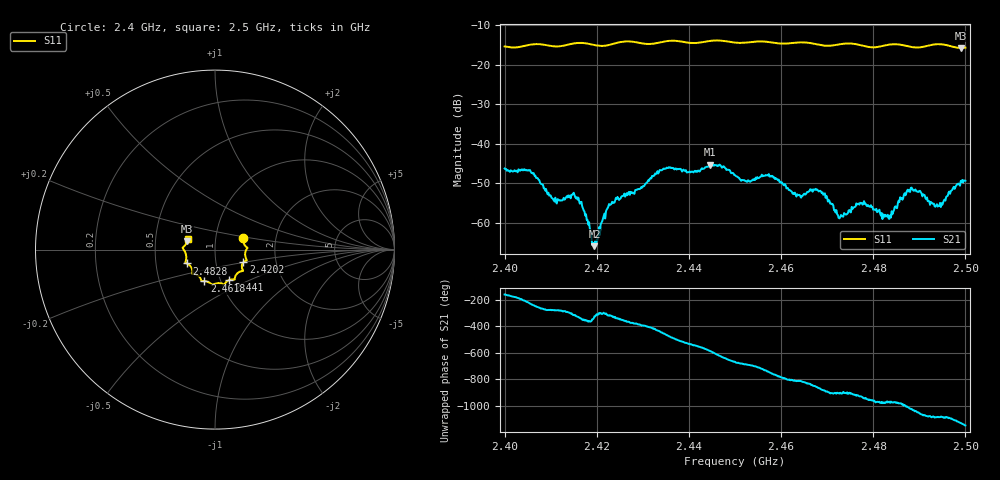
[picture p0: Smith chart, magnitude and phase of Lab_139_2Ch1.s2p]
# Hz S RI R 50
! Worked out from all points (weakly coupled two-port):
!   601 points, 2.4 GHz to 2.5 GHz, reference 50 ohm
!   highest |S21| = -45.32 dB at 2.4445 GHz (marker M1); lowest = -66.0 dB at 2.4195 GHz (marker M2)
!   lowest |S11| = -15.8 dB at 2.499 GHz (marker M3), VSWR 1.39, Z = 36.5 + j3.5 ohm
!   |S11| at or under -10 dB: start of sweep to end of sweep
!   S12 and S22 are empty: the file has one direction only
!   S11 on the Smith chart (normalised r, x): 2.4 GHz: 1.36, +0.18; 2.4202 GHz: 1.36, -0.20; 2.441 GHz: 1.10, -0.39; 2.4618 GHz: 0.84, -0.30; 2.4828 GHz: 0.72, -0.11; 2.5 GHz: 0.73, +0.09
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2.4e9  0.1573 0.063  -0.00461 -0.00145  0 0  0 0
2.405167e9  0.176 0.0138  -0.00333 0.00312  0 0  0 0
2.410833e9  0.1691 -0.0146  0.000379 0.00181  0 0  0 0
2.416667e9  0.1778 -0.0601  0.00176 0.000503  0 0  0 0
2.4195e9  0.163 -0.0667  0.000423 0.000274  0 0  0 0
2.420167e9  0.1583 -0.0707  0.000422 0.000425  0 0  0 0
2.422833e9  0.1495 -0.0959  0.00125 0.0011  0 0  0 0
2.433333e9  0.1122 -0.151  0.000999 -0.00406  0 0  0 0
2.441e9  0.0784 -0.1696  -0.00429 0.000473  0 0  0 0
2.4445e9  0.0543 -0.191  -0.00371 0.00395  0 0  0 0
2.45e9  0.0284 -0.1871  0.00255 0.00307  0 0  0 0
2.457667e9  -0.0227 -0.1898  0.00329 -0.00212  0 0  0 0
2.461833e9  -0.0593 -0.1757  0.000285 -0.00257  0 0  0 0
2.466667e9  -0.0779 -0.1681  -0.00145 -0.00218  0 0  0 0
2.472833e9  -0.1194 -0.1351  -0.00117 7.06e-05  0 0  0 0
2.477667e9  -0.1259 -0.1187  -0.00135 0.00102  0 0  0 0
2.482833e9  -0.1578 -0.0773  -0.000342 0.00116  0 0  0 0
2.483333e9  -0.1608 -0.0759  -0.000347 0.00108  0 0  0 0
2.487833e9  -0.1605 -0.0515  0.00131 0.00221  0 0  0 0
2.493833e9  -0.1807 0.00754  0.00169 -0.000248  0 0  0 0
2.499e9  -0.1547 0.0467  0.00205 -0.00267  0 0  0 0
2.5e9  -0.1518 0.0611  0.00114 -0.00319  0 0  0 0
